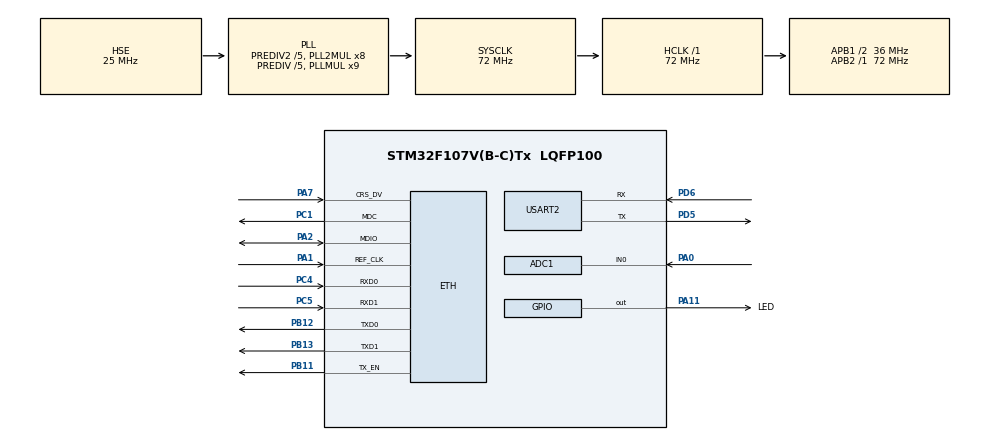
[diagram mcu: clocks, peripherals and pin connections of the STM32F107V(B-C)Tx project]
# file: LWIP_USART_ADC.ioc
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ADC1.Channel-4\#ChannelRegularConversion=ADC_CHANNEL_0
ADC1.ContinuousConvMode=DISABLE
ADC1.DataAlign=ADC_DATAALIGN_RIGHT
ADC1.DiscontinuousConvMode=DISABLE
ADC1.EnableAnalogWatchDog=false
ADC1.EnableRegularConversion=ENABLE
ADC1.ExternalTrigConv=ADC_EXTERNALTRIGCONV_T3_TRGO
ADC1.InjNumberOfConversion=0
ADC1.NbrOfConversion=1
ADC1.NbrOfConversionFlag=1
ADC1.Rank-4\#ChannelRegularConversion=1
ADC1.SamplingTime-4\#ChannelRegularConversion=ADC_SAMPLETIME_1CYCLE_5
ADC1.ScanConvMode=ADC_SCAN_DISABLE
ADC1.master=1
ETH.MediaInterface=ETH_MEDIA_INTERFACE_RMII
FREERTOS.Tasks01=defaultTask,0,128,StartDefaultTask,Default,NULL
FREERTOS.configTOTAL_HEAP_SIZE=30000
LWIP.GATEWAY_ADDRESS=010.001.001.001
LWIP.IP_ADDRESS=010.001.001.002
LWIP.LWIP_DHCP=0
LWIP.NETMASK_ADDRESS=255.255.255.000
LWIP.Version=v2.0.0_Cube
Mcu.Family=STM32F1
Mcu.Name=STM32F107V(B-C)Tx
Mcu.Package=LQFP100
NVIC.ETH_IRQn=true\:5\:0\:false\:false\:true\:true\:false
NVIC.PriorityGroup=NVIC_PRIORITYGROUP_4
NVIC.TIM3_IRQn=true\:5\:0\:false\:false\:true\:true\:true
OSC_IN.Mode=HSE-External-Oscillator
OSC_IN.Signal=RCC_OSC_IN
OSC_OUT.Mode=HSE-External-Oscillator
OSC_OUT.Signal=RCC_OSC_OUT
PA0-WKUP.Signal=ADCx_IN0
PA1.Mode=RMII
PA1.Signal=ETH_REF_CLK
PA11.GPIO_Label=LED
PA11.Signal=GPIO_Output
PA13.Mode=Serial_Wire
PA13.Signal=SYS_JTMS-SWDIO
PA14.Mode=Serial_Wire
PA14.Signal=SYS_JTCK-SWCLK
PA2.Mode=RMII
PA2.Signal=ETH_MDIO
PA7.Mode=RMII
PA7.Signal=ETH_CRS_DV
PB11.Mode=RMII
PB11.Signal=ETH_TX_EN
PB12.Mode=RMII
PB12.Signal=ETH_TXD0
PB13.Mode=RMII
PB13.Signal=ETH_TXD1
PC1.Mode=RMII
PC1.Signal=ETH_MDC
PC14-OSC32_IN.Mode=LSE-External-Oscillator
PC14-OSC32_IN.Signal=RCC_OSC32_IN
PC15-OSC32_OUT.Mode=LSE-External-Oscillator
PC15-OSC32_OUT.Signal=RCC_OSC32_OUT
PC4.Mode=RMII
PC4.Signal=ETH_RXD0
PC5.Mode=RMII
PC5.Signal=ETH_RXD1
PD5.Mode=Asynchronous
PD5.Signal=USART2_TX
PD6.Mode=Asynchronous
PD6.Signal=USART2_RX
ProjectManager.HeapSize=0x200
ProjectManager.StackSize=0x400
ProjectManager.TargetToolchain=SW4STM32
RCC.ADCPresc=RCC_ADCPCLK2_DIV6
RCC.AHBFreq_Value=72000000
RCC.APB1CLKDivider=RCC_HCLK_DIV2
RCC.APB1Freq_Value=36000000
RCC.APB1TimFreq_Value=72000000
RCC.APB2Freq_Value=72000000
RCC.APB2TimFreq_Value=72000000
RCC.HCLKFreq_Value=72000000
RCC.HSEDivPLL=RCC_HSE_PREDIV_DIV5
RCC.HSE_VALUE=25000000
RCC.PLLMUL=RCC_PLL_MUL9
RCC.PLLSourceVirtual=RCC_PLLSOURCE_HSE
RCC.Prediv1Source=RCC_PREDIV1_SOURCE_PLL2
RCC.Prediv2=RCC_HSE_PREDIV2_DIV5
RCC.SYSCLKFreq_VALUE=72000000
RCC.SYSCLKSource=RCC_SYSCLKSOURCE_PLLCLK
RCC.USBFreq_Value=48000000
SH.ADCx_IN0.0=ADC1_IN0,IN0
TIM3.Period=4
TIM3.Prescaler=1124
USART2.VirtualMode=VM_ASYNC
VP_FREERTOS_VS_ENABLE.Mode=Enabled
VP_LWIP_VS_Enabled.Mode=Enabled
VP_TIM3_VS_ClockSourceINT.Mode=Internal
board=custom

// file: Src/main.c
/**
  ******************************************************************************
  * @file           : main.c
  * @brief          : Main program body
  ******************************************************************************
  * This notice applies to any and all portions of this file
  * that are not between comment pairs USER CODE BEGIN and
  * USER CODE END. Other portions of this file, whether
  * inserted by the user or by software development tools
  * are owned by their respective copyright owners.
  *
  * Copyright (c) 2018 STMicroelectronics International N.V.
  * All rights reserved.
  *
  * Redistribution and use in source and binary forms, with or without
  * modification, are permitted, provided that the following conditions are met:
  *
  * 1. Redistribution of source code must retain the above copyright notice,
  *    this list of conditions and the following disclaimer.
  * 2. Redistributions in binary form must reproduce the above copyright notice,
  *    this list of conditions and the following disclaimer in the documentation
  *    and/or other materials provided with the distribution.
  * 3. Neither the name of STMicroelectronics nor the names of other
  *    contributors to this software may be used to endorse or promote products
  *    derived from this software without specific written permission.
  * 4. This software, including modifications and/or derivative works of this
  *    software, must execute solely and exclusively on microcontroller or
  *    microprocessor devices manufactured by or for STMicroelectronics.
  * 5. Redistribution and use of this software other than as permitted under
  *    this license is void and will automatically terminate your rights under
  *    this license.
  *
  * THIS SOFTWARE IS PROVIDED BY STMICROELECTRONICS AND CONTRIBUTORS "AS IS"
  * AND ANY EXPRESS, IMPLIED OR STATUTORY WARRANTIES, INCLUDING, BUT NOT
  * LIMITED TO, THE IMPLIED WARRANTIES OF MERCHANTABILITY, FITNESS FOR A
  * PARTICULAR PURPOSE AND NON-INFRINGEMENT OF THIRD PARTY INTELLECTUAL PROPERTY
  * RIGHTS ARE DISCLAIMED TO THE FULLEST EXTENT PERMITTED BY LAW. IN NO EVENT
  * SHALL STMICROELECTRONICS OR CONTRIBUTORS BE LIABLE FOR ANY DIRECT, INDIRECT,
  * INCIDENTAL, SPECIAL, EXEMPLARY, OR CONSEQUENTIAL DAMAGES (INCLUDING, BUT NOT
  * LIMITED TO, PROCUREMENT OF SUBSTITUTE GOODS OR SERVICES; LOSS OF USE, DATA,
  * OR PROFITS; OR BUSINESS INTERRUPTION) HOWEVER CAUSED AND ON ANY THEORY OF
  * LIABILITY, WHETHER IN CONTRACT, STRICT LIABILITY, OR TORT (INCLUDING
  * NEGLIGENCE OR OTHERWISE) ARISING IN ANY WAY OUT OF THE USE OF THIS SOFTWARE,
  * EVEN IF ADVISED OF THE POSSIBILITY OF SUCH DAMAGE.
  *
  ******************************************************************************
  */
#include "main.h"
#include "stm32f1xx_hal.h"
#include "cmsis_os.h"
#include "lwip.h"

/* USER CODE BEGIN Includes */
#include "string.h"
#include "lwip/api.h"
/* USER CODE END Includes */

ADC_HandleTypeDef hadc1;

TIM_HandleTypeDef htim3;

UART_HandleTypeDef huart2;

osThreadId defaultTaskHandle;

/* USER CODE BEGIN PV */
/* Private variables ---------------------------------------------------------*/
osThreadId UARTTaskHandle;
osThreadId netTaskHandle;
/* USER CODE END PV */

void SystemClock_Config(void);

static void MX_GPIO_Init(void);

static void MX_ADC1_Init(void);

static void MX_USART2_UART_Init(void);

static void MX_TIM3_Init(void);

void StartDefaultTask(void const *argument);

/* USER CODE BEGIN PFP */
/* Private function prototypes -----------------------------------------------*/

void StartUARTTask(void const *argument);

#define printf(format) sprintf (pbuffer, format);HAL_UART_Transmit(&huart2, pbuffer, strlen(pbuffer), 0xFFFF)
#define aprintf(format, ...) sprintf (pbuffer, format, __VA_ARGS__);HAL_UART_Transmit(&huart2, pbuffer, strlen(pbuffer), 0xFFFF)

/* USER CODE END PFP */

int main(void) {

	/* MCU Configuration----------------------------------------------------------*/

	/* Reset of all peripherals, Initializes the Flash interface and the Systick. */
	HAL_Init();

	/* Configure the system clock */
	SystemClock_Config();

	/* Initialize all configured peripherals */
	MX_GPIO_Init();
	MX_ADC1_Init();
	MX_USART2_UART_Init();
	MX_TIM3_Init();

	/* Create the thread(s) */
	/* definition and creation of defaultTask */
	osThreadDef(defaultTask, StartDefaultTask, osPriorityNormal, 0, 128);
	defaultTaskHandle = osThreadCreate(osThread(defaultTask), NULL);

	/* USER CODE BEGIN RTOS_THREADS */
	/* add threads, ... */
	osThreadDef(UARTTask, StartUARTTask, osPriorityNormal, 0, 128);
	UARTTaskHandle = osThreadCreate(osThread(UARTTask), NULL);
	/* USER CODE END RTOS_THREADS */

	/* Start scheduler */
	osKernelStart();

	/* We should never get here as control is now taken by the scheduler */

	/* Infinite loop */
	while (1) {

	}

}

void SystemClock_Config(void) {

	RCC_OscInitTypeDef RCC_OscInitStruct;
	RCC_ClkInitTypeDef RCC_ClkInitStruct;
	RCC_PeriphCLKInitTypeDef PeriphClkInit;

	/**Initializes the CPU, AHB and APB busses clocks
	*/
	RCC_OscInitStruct.OscillatorType = RCC_OSCILLATORTYPE_HSE;
	RCC_OscInitStruct.HSEState = RCC_HSE_ON;
	RCC_OscInitStruct.HSEPredivValue = RCC_HSE_PREDIV_DIV5;
	RCC_OscInitStruct.HSIState = RCC_HSI_ON;
	RCC_OscInitStruct.Prediv1Source = RCC_PREDIV1_SOURCE_PLL2;
	RCC_OscInitStruct.PLL.PLLState = RCC_PLL_ON;
	RCC_OscInitStruct.PLL.PLLSource = RCC_PLLSOURCE_HSE;
	RCC_OscInitStruct.PLL.PLLMUL = RCC_PLL_MUL9;
	RCC_OscInitStruct.PLL2.PLL2State = RCC_PLL2_ON;
	RCC_OscInitStruct.PLL2.PLL2MUL = RCC_PLL2_MUL8;
	RCC_OscInitStruct.PLL2.HSEPrediv2Value = RCC_HSE_PREDIV2_DIV5;
	if (HAL_RCC_OscConfig(&RCC_OscInitStruct) != HAL_OK) {
		_Error_Handler(__FILE__, __LINE__);
	}

	/**Initializes the CPU, AHB and APB busses clocks
	*/
	RCC_ClkInitStruct.ClockType = RCC_CLOCKTYPE_HCLK | RCC_CLOCKTYPE_SYSCLK
								  | RCC_CLOCKTYPE_PCLK1 | RCC_CLOCKTYPE_PCLK2;
	RCC_ClkInitStruct.SYSCLKSource = RCC_SYSCLKSOURCE_PLLCLK;
	RCC_ClkInitStruct.AHBCLKDivider = RCC_SYSCLK_DIV1;
	RCC_ClkInitStruct.APB1CLKDivider = RCC_HCLK_DIV2;
	RCC_ClkInitStruct.APB2CLKDivider = RCC_HCLK_DIV1;

	if (HAL_RCC_ClockConfig(&RCC_ClkInitStruct, FLASH_LATENCY_2) != HAL_OK) {
		_Error_Handler(__FILE__, __LINE__);
	}

	PeriphClkInit.PeriphClockSelection = RCC_PERIPHCLK_ADC;
	PeriphClkInit.AdcClockSelection = RCC_ADCPCLK2_DIV6;
	if (HAL_RCCEx_PeriphCLKConfig(&PeriphClkInit) != HAL_OK) {
		_Error_Handler(__FILE__, __LINE__);
	}

	/**Configure the Systick interrupt time
	*/
	HAL_SYSTICK_Config(HAL_RCC_GetHCLKFreq() / 1000);

	/**Configure the Systick
	*/
	HAL_SYSTICK_CLKSourceConfig(SYSTICK_CLKSOURCE_HCLK);

	/**Configure the Systick interrupt time
	*/
	__HAL_RCC_PLLI2S_ENABLE();

	/* SysTick_IRQn interrupt configuration */
	HAL_NVIC_SetPriority(SysTick_IRQn, 15, 0);
}

/* ADC1 init function */
static void MX_ADC1_Init(void) {

	ADC_ChannelConfTypeDef sConfig;

	/**Common config
	*/
	hadc1.Instance = ADC1;
	hadc1.Init.ScanConvMode = ADC_SCAN_DISABLE;
	hadc1.Init.ContinuousConvMode = DISABLE;
	hadc1.Init.DiscontinuousConvMode = DISABLE;
	hadc1.Init.ExternalTrigConv = ADC_EXTERNALTRIGCONV_T3_TRGO;
	hadc1.Init.DataAlign = ADC_DATAALIGN_RIGHT;
	hadc1.Init.NbrOfConversion = 1;
	if (HAL_ADC_Init(&hadc1) != HAL_OK) {
		_Error_Handler(__FILE__, __LINE__);
	}

	/**Configure Regular Channel
	*/
	sConfig.Channel = ADC_CHANNEL_0;
	sConfig.Rank = ADC_REGULAR_RANK_1;
	sConfig.SamplingTime = ADC_SAMPLETIME_1CYCLE_5;
	if (HAL_ADC_ConfigChannel(&hadc1, &sConfig) != HAL_OK) {
		_Error_Handler(__FILE__, __LINE__);
	}

}

/* TIM3 init function */
static void MX_TIM3_Init(void) {

	TIM_ClockConfigTypeDef sClockSourceConfig;
	TIM_MasterConfigTypeDef sMasterConfig;

	htim3.Instance = TIM3;
	htim3.Init.Prescaler = 1124;
	htim3.Init.CounterMode = TIM_COUNTERMODE_UP;
	htim3.Init.Period = 4;
	htim3.Init.ClockDivision = TIM_CLOCKDIVISION_DIV1;
	htim3.Init.AutoReloadPreload = TIM_AUTORELOAD_PRELOAD_DISABLE;
	if (HAL_TIM_Base_Init(&htim3) != HAL_OK) {
		_Error_Handler(__FILE__, __LINE__);
	}

	sClockSourceConfig.ClockSource = TIM_CLOCKSOURCE_INTERNAL;
	if (HAL_TIM_ConfigClockSource(&htim3, &sClockSourceConfig) != HAL_OK) {
		_Error_Handler(__FILE__, __LINE__);
	}

	sMasterConfig.MasterOutputTrigger = TIM_TRGO_RESET;
	sMasterConfig.MasterSlaveMode = TIM_MASTERSLAVEMODE_DISABLE;
	if (HAL_TIMEx_MasterConfigSynchronization(&htim3, &sMasterConfig) != HAL_OK) {
		_Error_Handler(__FILE__, __LINE__);
	}

}

/* USART2 init function */
static void MX_USART2_UART_Init(void) {

	huart2.Instance = USART2;
	huart2.Init.BaudRate = 115200;
	huart2.Init.WordLength = UART_WORDLENGTH_8B;
	huart2.Init.StopBits = UART_STOPBITS_1;
	huart2.Init.Parity = UART_PARITY_NONE;
	huart2.Init.Mode = UART_MODE_TX_RX;
	huart2.Init.HwFlowCtl = UART_HWCONTROL_NONE;
	huart2.Init.OverSampling = UART_OVERSAMPLING_16;
	if (HAL_UART_Init(&huart2) != HAL_OK) {
		_Error_Handler(__FILE__, __LINE__);
	}

}

/** Configure pins as
        * Analog
        * Input
        * Output
        * EVENT_OUT
        * EXTI
*/
static void MX_GPIO_Init(void) {

	GPIO_InitTypeDef GPIO_InitStruct;

	/* GPIO Ports Clock Enable */
	__HAL_RCC_GPIOC_CLK_ENABLE();
	__HAL_RCC_GPIOA_CLK_ENABLE();
	__HAL_RCC_GPIOB_CLK_ENABLE();
	__HAL_RCC_GPIOD_CLK_ENABLE();

	/*Configure GPIO pin Output Level */
	HAL_GPIO_WritePin(LED_GPIO_Port, LED_Pin, GPIO_PIN_RESET);

	/*Configure GPIO pin : LED_Pin */
	GPIO_InitStruct.Pin = LED_Pin;
	GPIO_InitStruct.Mode = GPIO_MODE_OUTPUT_PP;
	GPIO_InitStruct.Pull = GPIO_NOPULL;
	GPIO_InitStruct.Speed = GPIO_SPEED_FREQ_LOW;
	HAL_GPIO_Init(LED_GPIO_Port, &GPIO_InitStruct);

}

/* USER CODE BEGIN 4 */
void StartUARTTask(void const *argument) {
	/* Infinite loop */
	for (;;) {
		//HAL_UART_Transmit(&huart2, "Hello!\r\n", 8, 0xFFFF);
//		osDelay(1000);
	}
}

/* USER CODE END 4 */

/* StartDefaultTask function */
void StartDefaultTask(void const *argument) {
	/* init code for LWIP */
	MX_LWIP_Init();

	/* USER CODE BEGIN 5 */

	struct neconn *nc;
	struct neconn *in_nc;
	struct netbuf *nb;
	volatile err_t res;
	uint16_t len;
	ip_addr_t local_ip;
	ip_addr_t remote_ip;
	ip4addr_aton("10.1.1.2", &local_ip);
	ip4addr_aton("10.1.1.1", &remote_ip);
	char *buffer = pvPortMalloc(2048);
	char *pbuffer = pvPortMalloc(200);

	/*//MCU as client WORKS:!!!
	 nc = netconn_new(NETCONN_TCP);
	if (nc == NULL) {
		printf("new error\r\n");
		while (1) osDelay(1);
	}

	res = netconn_bind(nc, &local_ip, 0);
	if (res != 0) {
		aprintf("bind error: %d\r\n", res);
		while (1) osDelay(1);
	}

	res = netconn_connect(nc, &remote_ip, 3000);
	if (res != 0) {
		aprintf("connect error: %d\r\n", res);
		while (1) osDelay(1);
	}

	sprintf(buffer, "\r\n");
	res = netconn_write(nc, buffer, strlen(buffer), NETCONN_COPY);
	if (res != 0) {
		aprintf("write error: %d\r\n", res);
		while (1) osDelay(1);
	}

	res = netconn_recv(nc, &nb);
	if (res != 0) {
		aprintf("recv error: %d\r\n", res);
		while (1) osDelay(1);
	}

	len = netbuf_len(nb);
	netbuf_copy(nb, buffer, len);
	netbuf_delete(nb);
	buffer[len] = 0;
	aprintf("Received %d bytes:\r\n%s\r\n", len, buffer);
	netconn_close(nc);
	netconn_delete(nc);
//sprintf writes into self
	printf("Client sequence completed successful!\r\n");
	 */
//As server works!!))

//	aprintf("%d", SystemCoreClock);
	nc = netconn_new(NETCONN_TCP);
	if (nc == NULL) {
		aprintf("new error: %d\r\n", res);
		while (1) osDelay(1);
	}

	res = netconn_bind(nc, IP_ADDR_ANY, 3081);
	if (res != 0) {
		aprintf("bind error: %d\r\n", res);
		while (1) osDelay(1);
	}

	res = netconn_listen(nc);
	if (res != 0) {
		aprintf("listen error: %d\r\n", res);
		while (1) osDelay(1);
	}
	//Infinite loop
	for (;;) {
		res = netconn_accept(nc, &in_nc);
		if (res != 0) {
			aprintf("listen error: %d\r\n", res);
		} else {
			osThreadDef(netTask, StartNetTask, osPriorityNormal, 0, 256);
			netTaskHandle = osThreadCreate(osThread(netTask), (void *) in_nc);
		}
//		HAL_GPIO_WritePin(LED_GPIO_Port, LED_Pin, GPIO_PIN_RESET);
//		osDelay(300);
//		HAL_GPIO_WritePin(LED_GPIO_Port, LED_Pin, GPIO_PIN_SET);
//		osDelay(300);

	}
}
	/* USER CODE END 5 */

/* StartNetTask function */
void StartNetTask(void const *argument) {
	struct netconn *nc = (struct netconn *) argument;
	struct netbuf *nb;
	char *buffer = pvPortMalloc(2048);
	char *pbuffer = pvPortMalloc(200);
	uint16_t len;
	printf("Incoming connection\r\n");

	sprintf(buffer, "Hello from STM32F746BGT6!\r\n");
	netconn_write(nc, buffer, strlen(buffer), NETCONN_COPY);

	/* Infinite loop */
	for (;;) {
		netconn_recv(nc, &nb);
		len = netbuf_len(nb);
		netbuf_copy(nb, buffer, len);
		netbuf_delete(nb);
		buffer[len] = 0;
		aprintf("%s", buffer);
	}
}
/* USER CODE END StartNetTask */

void _Error_Handler(char *file, int line) {
	while (1) {
	}
}

/************************ (C) COPYRIGHT STMicroelectronics *****END OF FILE****/
